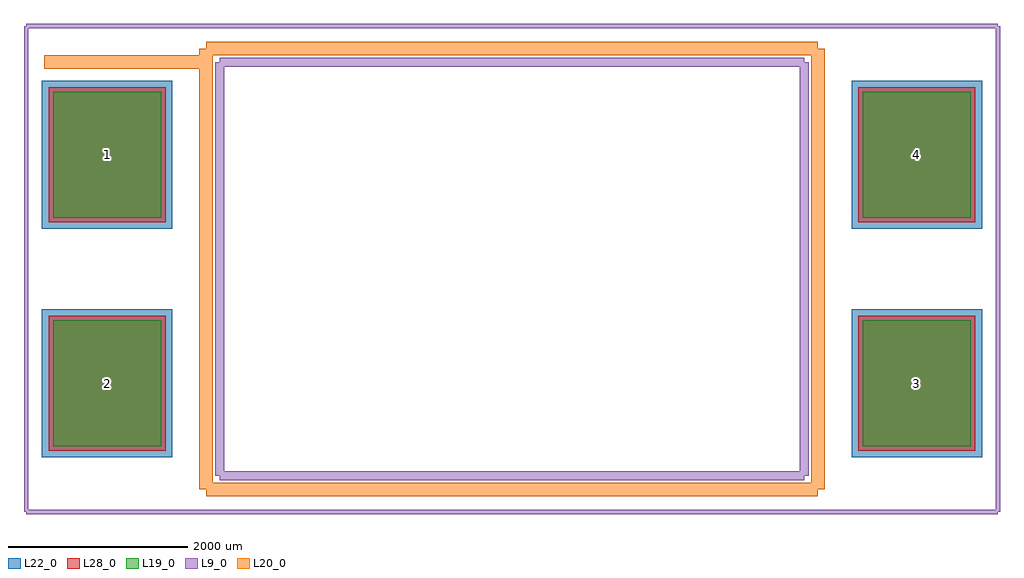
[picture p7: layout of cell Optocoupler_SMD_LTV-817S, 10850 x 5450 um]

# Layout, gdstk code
import gdstk
lib = gdstk.Library(unit=1e-6, precision=1e-09)
def R(c, l, rs):  # rectangles x0, y0, x1, y1
    for r in rs: c.add(gdstk.rectangle(r[:2], r[2:], *l))
L9_0 = (9, 0)
L19_0 = (19, 0)
L20_0 = (20, 0)
L22_0 = (22, 0)
L28_0 = (28, 0)

optocoupler_smd_ltv_817s = lib.new_cell('Optocoupler_SMD_LTV-817S')
R(optocoupler_smd_ltv_817s, L19_0, [(-5100,-1970,-3900,-570), (3900,-1970,5100,-570), (-5100,570,-3900,1970), (3900,570,5100,1970)])
R(optocoupler_smd_ltv_817s, L22_0, [(-5225,-2095,-3775,-445), (3775,-2095,5225,-445), (-5225,445,-3775,2095), (3775,445,5225,2095)])
R(optocoupler_smd_ltv_817s, L28_0, [(-5150,-2020,-3850,-520), (3850,-2020,5150,-520), (-5150,520,-3850,2020), (3850,520,5150,2020)])
optocoupler_smd_ltv_817s.add(gdstk.FlexPath([(-3250,2300),(3250,2300)], 100, ends="flush", simple_path=True, layer=9, datatype=0))  # L9_0
optocoupler_smd_ltv_817s.add(gdstk.FlexPath([(3250,2300),(3250,-2300)], 100, ends="flush", simple_path=True, layer=9, datatype=0))  # L9_0
optocoupler_smd_ltv_817s.add(gdstk.FlexPath([(3250,-2300),(-3250,-2300)], 100, ends="flush", simple_path=True, layer=9, datatype=0))  # L9_0
optocoupler_smd_ltv_817s.add(gdstk.FlexPath([(-3250,-2300),(-3250,2300)], 100, ends="flush", simple_path=True, layer=9, datatype=0))  # L9_0
optocoupler_smd_ltv_817s.add(gdstk.FlexPath([(3400,2450),(-3400,2450)], 149.998, ends="flush", simple_path=True, layer=20, datatype=0))  # L20_0
optocoupler_smd_ltv_817s.add(gdstk.FlexPath([(3400,-2450),(-3400,-2450)], 149.998, ends="flush", simple_path=True, layer=20, datatype=0))  # L20_0
optocoupler_smd_ltv_817s.add(gdstk.FlexPath([(-3400,-2450),(-3400,2450)], 149.998, ends="flush", simple_path=True, layer=20, datatype=0))  # L20_0
optocoupler_smd_ltv_817s.add(gdstk.FlexPath([(3400,2450),(3400,-2450)], 149.998, ends="flush", simple_path=True, layer=20, datatype=0))  # L20_0
optocoupler_smd_ltv_817s.add(gdstk.FlexPath([(-5400,-2700),(5400,-2700)], 50, ends="flush", simple_path=True, layer=9, datatype=0))  # L9_0
optocoupler_smd_ltv_817s.add(gdstk.FlexPath([(5400,-2700),(5400,2700)], 50, ends="flush", simple_path=True, layer=9, datatype=0))  # L9_0
optocoupler_smd_ltv_817s.add(gdstk.FlexPath([(5400,2700),(-5400,2700)], 50, ends="flush", simple_path=True, layer=9, datatype=0))  # L9_0
optocoupler_smd_ltv_817s.add(gdstk.FlexPath([(-5400,2700),(-5400,-2700)], 50, ends="flush", simple_path=True, layer=9, datatype=0))  # L9_0
optocoupler_smd_ltv_817s.add(gdstk.FlexPath([(-3400,2300),(-5200,2300)], 149.998, ends="flush", simple_path=True, layer=20, datatype=0))  # L20_0
optocoupler_smd_ltv_817s.add(gdstk.Label('1', (-4500,1270), layer=28, texttype=0))
optocoupler_smd_ltv_817s.add(gdstk.Label('2', (-4500,-1270), layer=28, texttype=0))
optocoupler_smd_ltv_817s.add(gdstk.Label('3', (4500,-1270), layer=28, texttype=0))
optocoupler_smd_ltv_817s.add(gdstk.Label('4', (4500,1270), layer=28, texttype=0))
optocoupler_smd_ltv_817s.add(gdstk.Label('type', (0,-3800), layer=9, texttype=0))
optocoupler_smd_ltv_817s.add(gdstk.Label('devicename', (0,3400), layer=9, texttype=0))

lib.write_gds('Optocoupler_SMD_LTV-817S.gds')
